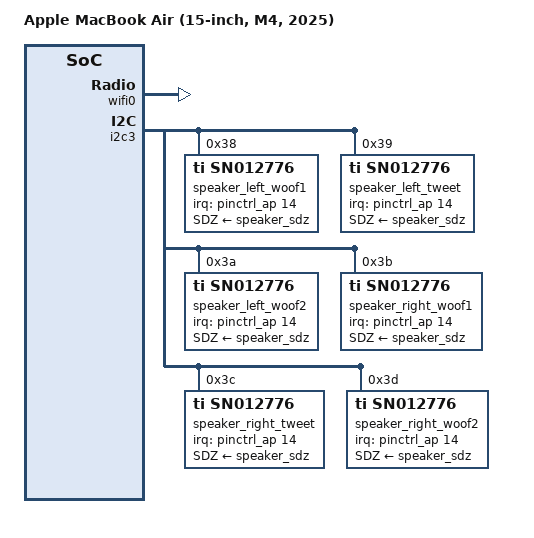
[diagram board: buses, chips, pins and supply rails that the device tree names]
// SPDX-License-Identifier: GPL-2.0+ OR MIT
/*
 * Apple MacBook Air (15-inch, M4, 2025)
 *
 * target-type: J715
 *
 * The J713 board with a 15.3" panel and six speaker amps. Its ADT matches
 * the J713's elsewhere, apart from the radio island and the ATC PHY trims.
 *
 * Copyright The Asahi Linux Contributors
 */

/dts-v1/;

#include "t8132.dtsi"
#include "t8132-j713-j715.dtsi"
#include <dt-bindings/gpio/gpio.h>

/ {
	compatible = "apple,j715", "apple,t8132", "apple,arm-platform";
	model = "Apple MacBook Air (15-inch, M4, 2025)";

	/*
	 * The AOP firmware runs the stream (MCA cluster 0, one serializer for
	 * the six amps); macaudio's J715 variant links the AOP audio
	 * component's speaker back-end (DAI 3) to them. The codecs are listed in
	 * the ADT provider order, so each gets its native playback slot (LW1 0,
	 * RW1 1, LT 2, RT 3, LW2 4, RW2 5). The idle masks are the ADT
	 * amp-tx-zd-config rows 0 and 1 over the 24 sense byte slots: the left
	 * woofer drives zeros in the right amps' sense slots, the right woofer
	 * in the left amps'.
	 */
	sound: sound {
		compatible = "apple,j715-macaudio", "apple,macaudio";
		model = "MacBook Air J715";
		#address-cells = <1>;
		#size-cells = <0>;

		dai-link@0 {
			reg = <0>;
			link-name = "Speakers";
			dai-tdm-idle-mode-0 = "zero";
			dai-tdm-idle-mode-1 = "zero";
			dai-tdm-slot-tx-idle-mask-0 = <0xf0f0f0>;
			dai-tdm-slot-tx-idle-mask-1 = <0x0f0f0f>;

			cpu {
				sound-dai = <&aop_audio 3>;
			};

			codec {
				sound-dai = <&speaker_left_woof1>, <&speaker_right_woof1>,
					    <&speaker_left_tweet>, <&speaker_right_tweet>,
					    <&speaker_left_woof2>, <&speaker_right_woof2>;
			};
		};
	};

	/*
	 * Physical size of the firmware framebuffer's 2880x1800 area below the
	 * notch (15.3" panel, 224 ppi), so simpledrm reports the real DPI.
	 */
	fb_panel: panel {
		width-mm = <327>;
		height-mm = <204>;
		status = "disabled";
	};
};

&sound_jack {
	compatible = "apple,j715-macaudio-jack", "apple,macaudio";
	model = "MacBook Air J715 Jack";
};

&mtp_hid {
	multi-touch {
		firmware-name = "apple/tpmtfw-j715.bin";
	};
};

/* The radio module's firmware island, from the ADT's module-instance. */
&wifi0 {
	brcm,board-type = "apple,kos";
};

&bluetooth0 {
	brcm,board-type = "apple,kos";
};

&aop_audio {
	apple,chassis-name = "J715";
	apple,machine-kind = "MacBook Air";
};

/*
 * The six SN012776 speaker amps, held in hardware shutdown until the sound
 * card enables them (ADT /arm-io/i2c3/audio-speaker at 0x38 and its
 * speaker1..5): one interrupt line on AP GPIO 14, level low; sense slots
 * from speaker-config (amp i at RX bytes 4i and 4i + 2, order LW1 RW1 LT RT
 * LW2 RW2). Every amp joins the SDZ fail-closed group.
 */
&i2c3 {
	status = "okay";

	speaker_left_woof1: codec@38 {
		compatible = "ti,sn012776", "ti,tas2764";
		reg = <0x38>;
		SDZ-supply = <&speaker_sdz>;
		apple,sdz-group-fail-closed;
		apple,deferred-shutdown;
		#sound-dai-cells = <0>;
		sound-name-prefix = "Left Woofer 1";
		interrupts-extended = <&pinctrl_ap 14 IRQ_TYPE_LEVEL_LOW>;
		ti,imon-slot-no = <0>;
		ti,vmon-slot-no = <2>;
	};

	speaker_left_tweet: codec@39 {
		compatible = "ti,sn012776", "ti,tas2764";
		reg = <0x39>;
		SDZ-supply = <&speaker_sdz>;
		apple,sdz-group-fail-closed;
		apple,deferred-shutdown;
		#sound-dai-cells = <0>;
		sound-name-prefix = "Left Tweeter";
		interrupts-extended = <&pinctrl_ap 14 IRQ_TYPE_LEVEL_LOW>;
		ti,imon-slot-no = <8>;
		ti,vmon-slot-no = <10>;
	};

	speaker_left_woof2: codec@3a {
		compatible = "ti,sn012776", "ti,tas2764";
		reg = <0x3a>;
		SDZ-supply = <&speaker_sdz>;
		apple,sdz-group-fail-closed;
		apple,deferred-shutdown;
		#sound-dai-cells = <0>;
		sound-name-prefix = "Left Woofer 2";
		interrupts-extended = <&pinctrl_ap 14 IRQ_TYPE_LEVEL_LOW>;
		ti,imon-slot-no = <16>;
		ti,vmon-slot-no = <18>;
	};

	speaker_right_woof1: codec@3b {
		compatible = "ti,sn012776", "ti,tas2764";
		reg = <0x3b>;
		SDZ-supply = <&speaker_sdz>;
		apple,sdz-group-fail-closed;
		apple,deferred-shutdown;
		#sound-dai-cells = <0>;
		sound-name-prefix = "Right Woofer 1";
		interrupts-extended = <&pinctrl_ap 14 IRQ_TYPE_LEVEL_LOW>;
		ti,imon-slot-no = <4>;
		ti,vmon-slot-no = <6>;
	};

	speaker_right_tweet: codec@3c {
		compatible = "ti,sn012776", "ti,tas2764";
		reg = <0x3c>;
		SDZ-supply = <&speaker_sdz>;
		apple,sdz-group-fail-closed;
		apple,deferred-shutdown;
		#sound-dai-cells = <0>;
		sound-name-prefix = "Right Tweeter";
		interrupts-extended = <&pinctrl_ap 14 IRQ_TYPE_LEVEL_LOW>;
		ti,imon-slot-no = <12>;
		ti,vmon-slot-no = <14>;
	};

	speaker_right_woof2: codec@3d {
		compatible = "ti,sn012776", "ti,tas2764";
		reg = <0x3d>;
		SDZ-supply = <&speaker_sdz>;
		apple,sdz-group-fail-closed;
		apple,deferred-shutdown;
		#sound-dai-cells = <0>;
		sound-name-prefix = "Right Woofer 2";
		interrupts-extended = <&pinctrl_ap 14 IRQ_TYPE_LEVEL_LOW>;
		ti,imon-slot-no = <20>;
		ti,vmon-slot-no = <22>;
	};
};

&mesa {
	/*
	 * Per-device factory data from this Mac's own iBoot system container:
	 * the calibration, and the signed root key the nonce session loads.
	 */
	firmware-name = "apple/mesacal-j715.bin", "apple/msrk-j715.bin";
};

/*
 * The ATC PHY calibration where the J715 ADT differs from the J713 tree:
 * PLL and common-block trims, which also differ between machines and
 * between the two PHYs.
 */
&atcphy0 {
	apple,tunable-cio-common =
		<0x800 0x3f0000 0x230000>,
		<0x2224 0xc00 0x800>,
		<0x2230 0x1f 0xf>,
		<0x2240 0x18007f 0x39>,
		<0x22b0 0x8700000 0x300000>,
		<0x22e8 0x60001 0x40001>,
		<0x2338 0xf800000 0x7800000>,
		<0x2a00 0x888 0x888>,
		<0x2a08 0x1f0000 0x30000>,
		<0x2a24 0xc00 0x800>,
		<0x2a28 0xf00 0xb00>,
		<0x2a30 0x1f 0xf>,
		<0x2a4c 0x7ffe00 0x63ba00>,
		<0x2ab0 0x700000 0x300000>,
		<0x2ae8 0x60000 0x20000>,
		<0x2b00 0xfff 0xd8>,
		<0x2894 0x100 0x100>,
		<0x28a0 0x1ff 0x114>,
		<0x1030 0x8000 0x8000>,
		<0x4000 0xf00700 0xb00000>,
		<0x10c 0x40000 0x0>;
};

&atcphy1 {
	apple,tunable-cio-common =
		<0x800 0x3f0000 0x230000>,
		<0x2224 0xc00 0x800>,
		<0x2230 0x1f 0xf>,
		<0x2240 0x18007f 0x39>,
		<0x22b0 0x8700000 0x300000>,
		<0x22e8 0x60001 0x40001>,
		<0x2338 0xf800000 0x7800000>,
		<0x2a00 0x888 0x888>,
		<0x2a08 0x1f0000 0x30000>,
		<0x2a24 0xc00 0x800>,
		<0x2a28 0xf00 0xb00>,
		<0x2a30 0x1f 0xf>,
		<0x2a4c 0x7ffe00 0x22ba00>,
		<0x2ab0 0x700000 0x300000>,
		<0x2ae8 0x60000 0x20000>,
		<0x2b00 0xfff 0xd8>,
		<0x2894 0x100 0x100>,
		<0x28a0 0x1ff 0x114>,
		<0x1030 0x8000 0x8000>,
		<0x4000 0xf00700 0xb00000>,
		<0x10c 0x40000 0x0>;
	apple,tunable-cio-post =
		<0xa04 0x7c 0x50>,
		<0x260c 0x3ff 0x200>;
};

/* The full 2880x1864 panel including the notch rows, 224 ppi. */
&dcp {
	apple,panel-width-mm = <327>;
	apple,panel-height-mm = <211>;
};

